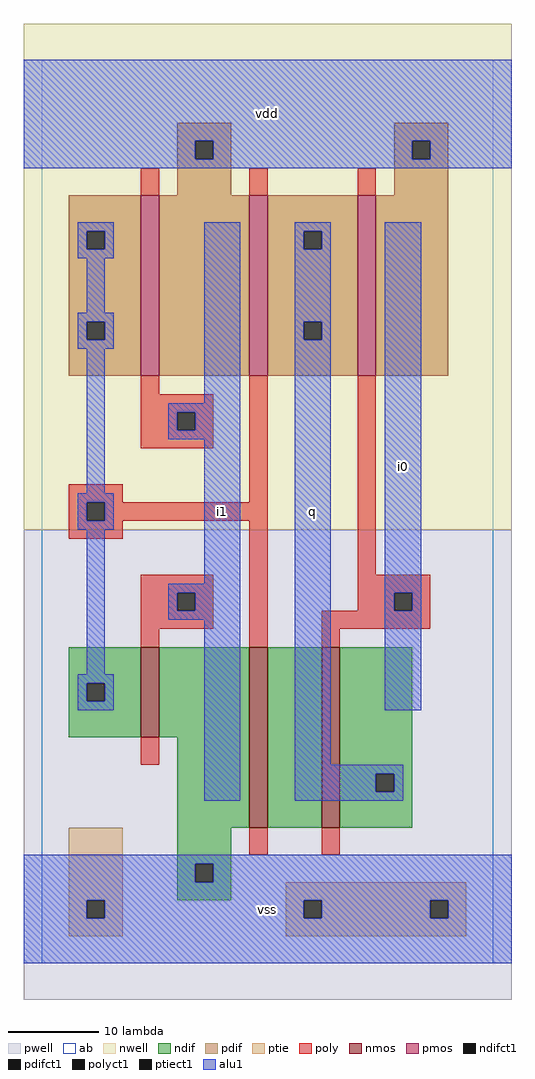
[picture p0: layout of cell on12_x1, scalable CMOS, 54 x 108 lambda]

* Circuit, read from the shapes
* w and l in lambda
.subckt on12_x1 i0 i1 q vdd vss
M1 vss i1 n1 vss nfet w=10 l=2
M2 n2 n1 vss vss nfet w=20 l=2
M3 q i0 n2 vss nfet w=20 l=2
M4 vdd i1 n1 n3 pfet w=20 l=2
M5 q n1 vdd n3 pfet w=20 l=2
M6 vdd i0 q n3 pfet w=20 l=2
.ends

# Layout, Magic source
magic
tech scmos
<< ab >>
rect 0 0 50 100
<< nwell >>
rect -2 48 52 104
<< pwell >>
rect -2 -4 52 48
<< poly >>
rect 11 85 13 88
rect 23 85 25 88
rect 35 85 37 88
rect 11 63 13 65
rect 11 61 19 63
rect 11 59 15 61
rect 17 59 19 61
rect 11 57 19 59
rect 3 51 9 53
rect 23 51 25 65
rect 3 49 5 51
rect 7 49 25 51
rect 3 47 9 49
rect 11 41 19 43
rect 11 39 15 41
rect 17 39 19 41
rect 11 37 19 39
rect 11 35 13 37
rect 23 35 25 49
rect 35 43 37 65
rect 35 41 43 43
rect 35 39 39 41
rect 41 39 43 41
rect 31 37 43 39
rect 31 35 33 37
rect 11 22 13 25
rect 23 12 25 15
rect 31 12 33 15
<< ndif >>
rect 3 31 11 35
rect 3 29 5 31
rect 7 29 11 31
rect 3 25 11 29
rect 13 25 23 35
rect 15 15 23 25
rect 25 15 31 35
rect 33 21 41 35
rect 33 19 37 21
rect 39 19 41 21
rect 33 15 41 19
rect 15 11 21 15
rect 15 9 17 11
rect 19 9 21 11
rect 15 7 21 9
<< pdif >>
rect 15 91 21 93
rect 15 89 17 91
rect 19 89 21 91
rect 15 85 21 89
rect 39 91 45 93
rect 39 89 41 91
rect 43 89 45 91
rect 39 85 45 89
rect 3 81 11 85
rect 3 79 5 81
rect 7 79 11 81
rect 3 71 11 79
rect 3 69 5 71
rect 7 69 11 71
rect 3 65 11 69
rect 13 65 23 85
rect 25 81 35 85
rect 25 79 29 81
rect 31 79 35 81
rect 25 71 35 79
rect 25 69 29 71
rect 31 69 35 71
rect 25 65 35 69
rect 37 65 45 85
<< alu1 >>
rect -2 91 52 100
rect -2 89 17 91
rect 19 89 41 91
rect 43 89 52 91
rect -2 88 52 89
rect 4 81 8 82
rect 4 79 5 81
rect 7 79 8 81
rect 4 78 8 79
rect 5 72 7 78
rect 4 71 8 72
rect 4 69 5 71
rect 7 69 8 71
rect 4 68 8 69
rect 5 52 7 68
rect 18 62 22 82
rect 14 61 22 62
rect 14 59 15 61
rect 17 59 22 61
rect 14 58 22 59
rect 4 51 8 52
rect 4 49 5 51
rect 7 49 8 51
rect 4 48 8 49
rect 5 32 7 48
rect 18 42 22 58
rect 14 41 22 42
rect 14 39 15 41
rect 17 39 22 41
rect 14 38 22 39
rect 4 31 8 32
rect 4 29 5 31
rect 7 29 8 31
rect 4 28 8 29
rect 18 18 22 38
rect 28 81 32 82
rect 28 79 29 81
rect 31 79 32 81
rect 28 71 32 79
rect 28 69 29 71
rect 31 69 32 71
rect 28 22 32 69
rect 38 41 42 82
rect 38 39 39 41
rect 41 39 42 41
rect 38 28 42 39
rect 28 21 40 22
rect 28 19 37 21
rect 39 19 40 21
rect 28 18 40 19
rect -2 11 52 12
rect -2 9 17 11
rect 19 9 52 11
rect -2 7 52 9
rect -2 5 5 7
rect 7 5 29 7
rect 31 5 43 7
rect 45 5 52 7
rect -2 0 52 5
<< ptie >>
rect 3 7 9 15
rect 27 7 47 9
rect 3 5 5 7
rect 7 5 9 7
rect 3 3 9 5
rect 27 5 29 7
rect 31 5 43 7
rect 45 5 47 7
rect 27 3 47 5
<< nmos >>
rect 11 25 13 35
rect 23 15 25 35
rect 31 15 33 35
<< pmos >>
rect 11 65 13 85
rect 23 65 25 85
rect 35 65 37 85
<< polyct1 >>
rect 15 59 17 61
rect 5 49 7 51
rect 15 39 17 41
rect 39 39 41 41
<< ndifct1 >>
rect 5 29 7 31
rect 37 19 39 21
rect 17 9 19 11
<< ptiect1 >>
rect 5 5 7 7
rect 29 5 31 7
rect 43 5 45 7
<< pdifct1 >>
rect 17 89 19 91
rect 41 89 43 91
rect 5 79 7 81
rect 5 69 7 71
rect 29 79 31 81
rect 29 69 31 71
<< labels >>
rlabel alu1 20 50 20 50 6 i1
rlabel alu1 25 6 25 6 6 vss
rlabel alu1 30 50 30 50 6 q
rlabel alu1 25 94 25 94 6 vdd
rlabel alu1 40 55 40 55 6 i0
<< end >>
